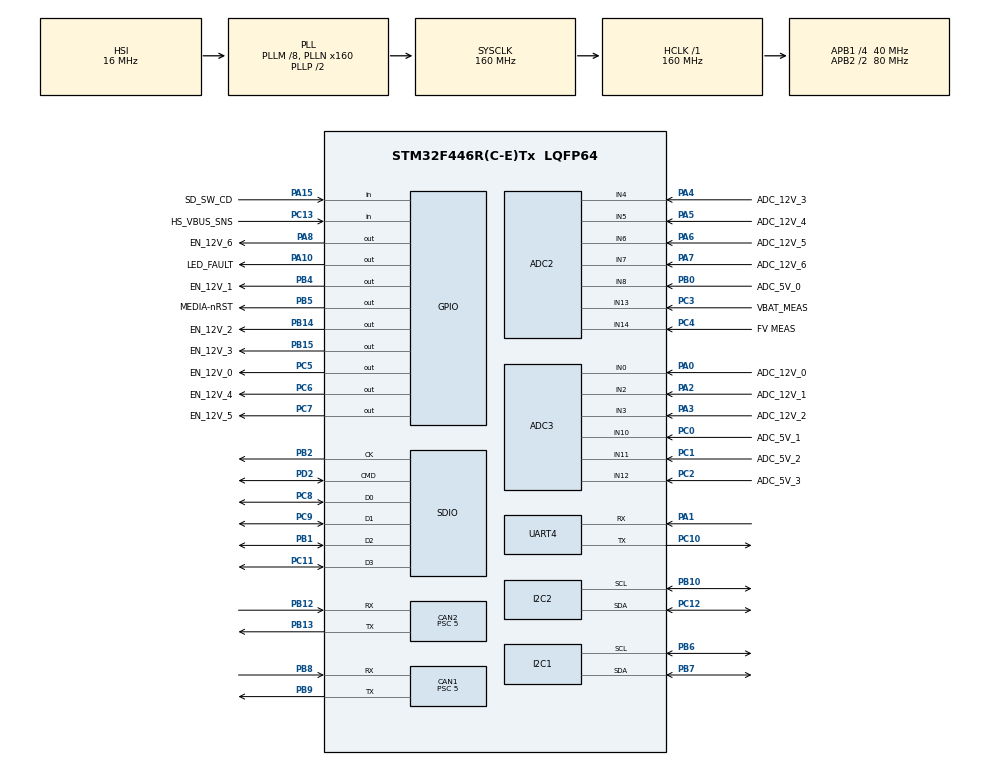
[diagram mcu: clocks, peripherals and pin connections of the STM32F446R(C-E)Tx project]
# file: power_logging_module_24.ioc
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ADC1.Channel-0\#ChannelRegularConversion=ADC_CHANNEL_TEMPSENSOR
ADC1.ClockPrescaler=ADC_CLOCK_SYNC_PCLK_DIV8
ADC1.ContinuousConvMode=ENABLE
ADC1.DMAContinuousRequests=ENABLE
ADC1.ExternalTrigConv=ADC_EXTERNALTRIGCONV_T3_TRGO
ADC1.NbrOfConversion=1
ADC1.NbrOfConversionFlag=1
ADC1.Rank-0\#ChannelRegularConversion=1
ADC1.SamplingTime-0\#ChannelRegularConversion=ADC_SAMPLETIME_480CYCLES
ADC1.ScanConvMode=ENABLE
ADC1.master=1
ADC2.Channel-0\#ChannelRegularConversion=ADC_CHANNEL_4
ADC2.Channel-1\#ChannelRegularConversion=ADC_CHANNEL_5
ADC2.Channel-2\#ChannelRegularConversion=ADC_CHANNEL_6
ADC2.Channel-3\#ChannelRegularConversion=ADC_CHANNEL_7
ADC2.Channel-7\#ChannelRegularConversion=ADC_CHANNEL_8
ADC2.Channel-8\#ChannelRegularConversion=ADC_CHANNEL_13
ADC2.Channel-9\#ChannelRegularConversion=ADC_CHANNEL_14
ADC2.ClockPrescaler=ADC_CLOCK_SYNC_PCLK_DIV8
ADC2.ContinuousConvMode=ENABLE
ADC2.DMAContinuousRequests=ENABLE
ADC2.NbrOfConversion=7
ADC2.NbrOfConversionFlag=1
ADC2.Rank-0\#ChannelRegularConversion=1
ADC2.Rank-1\#ChannelRegularConversion=2
ADC2.Rank-2\#ChannelRegularConversion=3
ADC2.Rank-3\#ChannelRegularConversion=4
ADC2.Rank-7\#ChannelRegularConversion=5
ADC2.Rank-8\#ChannelRegularConversion=6
ADC2.Rank-9\#ChannelRegularConversion=7
ADC2.SamplingTime-0\#ChannelRegularConversion=ADC_SAMPLETIME_480CYCLES
ADC2.SamplingTime-1\#ChannelRegularConversion=ADC_SAMPLETIME_480CYCLES
ADC2.SamplingTime-2\#ChannelRegularConversion=ADC_SAMPLETIME_480CYCLES
ADC2.SamplingTime-3\#ChannelRegularConversion=ADC_SAMPLETIME_480CYCLES
ADC2.SamplingTime-7\#ChannelRegularConversion=ADC_SAMPLETIME_480CYCLES
ADC2.SamplingTime-8\#ChannelRegularConversion=ADC_SAMPLETIME_480CYCLES
ADC2.SamplingTime-9\#ChannelRegularConversion=ADC_SAMPLETIME_480CYCLES
ADC2.ScanConvMode=ENABLE
ADC3.Channel-0\#ChannelRegularConversion=ADC_CHANNEL_0
ADC3.Channel-1\#ChannelRegularConversion=ADC_CHANNEL_2
ADC3.Channel-10\#ChannelRegularConversion=ADC_CHANNEL_12
ADC3.Channel-2\#ChannelRegularConversion=ADC_CHANNEL_3
ADC3.Channel-8\#ChannelRegularConversion=ADC_CHANNEL_10
ADC3.Channel-9\#ChannelRegularConversion=ADC_CHANNEL_11
ADC3.ClockPrescaler=ADC_CLOCK_SYNC_PCLK_DIV8
ADC3.ContinuousConvMode=ENABLE
ADC3.DMAContinuousRequests=ENABLE
ADC3.NbrOfConversion=6
ADC3.NbrOfConversionFlag=1
ADC3.Rank-0\#ChannelRegularConversion=1
ADC3.Rank-1\#ChannelRegularConversion=2
ADC3.Rank-10\#ChannelRegularConversion=6
ADC3.Rank-2\#ChannelRegularConversion=3
ADC3.Rank-8\#ChannelRegularConversion=4
ADC3.Rank-9\#ChannelRegularConversion=5
ADC3.SamplingTime-0\#ChannelRegularConversion=ADC_SAMPLETIME_480CYCLES
ADC3.SamplingTime-1\#ChannelRegularConversion=ADC_SAMPLETIME_480CYCLES
ADC3.SamplingTime-10\#ChannelRegularConversion=ADC_SAMPLETIME_480CYCLES
ADC3.SamplingTime-2\#ChannelRegularConversion=ADC_SAMPLETIME_480CYCLES
ADC3.SamplingTime-8\#ChannelRegularConversion=ADC_SAMPLETIME_480CYCLES
ADC3.SamplingTime-9\#ChannelRegularConversion=ADC_SAMPLETIME_480CYCLES
CAN1.ABOM=ENABLE
CAN1.AWUM=ENABLE
CAN1.BS1=CAN_BS1_6TQ
CAN1.BS2=CAN_BS2_1TQ
CAN1.CalculateBaudRate=1000000
CAN1.CalculateTimeBit=1000
CAN1.CalculateTimeQuantum=125.0
CAN1.Prescaler=5
CAN2.ABOM=ENABLE
CAN2.AWUM=ENABLE
CAN2.BS1=CAN_BS1_6TQ
CAN2.BS2=CAN_BS2_1TQ
CAN2.CalculateBaudRate=1000000
CAN2.CalculateTimeBit=1000
CAN2.CalculateTimeQuantum=125.0
CAN2.Prescaler=5
Dma.ADC1.4.Direction=DMA_PERIPH_TO_MEMORY
Dma.ADC1.4.FIFOMode=DMA_FIFOMODE_DISABLE
Dma.ADC1.4.Instance=DMA2_Stream0
Dma.ADC1.4.MemDataAlignment=DMA_MDATAALIGN_HALFWORD
Dma.ADC1.4.MemInc=DMA_MINC_ENABLE
Dma.ADC1.4.Mode=DMA_CIRCULAR
Dma.ADC1.4.PeriphDataAlignment=DMA_PDATAALIGN_HALFWORD
Dma.ADC1.4.PeriphInc=DMA_PINC_DISABLE
Dma.ADC1.4.Priority=DMA_PRIORITY_LOW
Dma.ADC2.0.Direction=DMA_PERIPH_TO_MEMORY
Dma.ADC2.0.FIFOMode=DMA_FIFOMODE_DISABLE
Dma.ADC2.0.Instance=DMA2_Stream2
Dma.ADC2.0.MemDataAlignment=DMA_MDATAALIGN_HALFWORD
Dma.ADC2.0.MemInc=DMA_MINC_ENABLE
Dma.ADC2.0.Mode=DMA_CIRCULAR
Dma.ADC2.0.PeriphDataAlignment=DMA_PDATAALIGN_HALFWORD
Dma.ADC2.0.PeriphInc=DMA_PINC_DISABLE
Dma.ADC2.0.Priority=DMA_PRIORITY_LOW
Dma.ADC3.1.Direction=DMA_PERIPH_TO_MEMORY
Dma.ADC3.1.FIFOMode=DMA_FIFOMODE_DISABLE
Dma.ADC3.1.Instance=DMA2_Stream1
Dma.ADC3.1.MemDataAlignment=DMA_MDATAALIGN_HALFWORD
Dma.ADC3.1.MemInc=DMA_MINC_ENABLE
Dma.ADC3.1.Mode=DMA_CIRCULAR
Dma.ADC3.1.PeriphDataAlignment=DMA_PDATAALIGN_HALFWORD
Dma.ADC3.1.PeriphInc=DMA_PINC_DISABLE
Dma.ADC3.1.Priority=DMA_PRIORITY_LOW
Dma.Request0=ADC2
Dma.Request1=ADC3
Dma.Request2=SDIO_RX
Dma.Request3=SDIO_TX
Dma.Request4=ADC1
Dma.SDIO_RX.2.Direction=DMA_PERIPH_TO_MEMORY
Dma.SDIO_RX.2.FIFOMode=DMA_FIFOMODE_ENABLE
Dma.SDIO_RX.2.FIFOThreshold=DMA_FIFO_THRESHOLD_FULL
Dma.SDIO_RX.2.Instance=DMA2_Stream3
Dma.SDIO_RX.2.MemBurst=DMA_MBURST_INC4
Dma.SDIO_RX.2.MemDataAlignment=DMA_MDATAALIGN_WORD
Dma.SDIO_RX.2.MemInc=DMA_MINC_ENABLE
Dma.SDIO_RX.2.Mode=DMA_PFCTRL
Dma.SDIO_RX.2.PeriphBurst=DMA_PBURST_INC4
Dma.SDIO_RX.2.PeriphDataAlignment=DMA_PDATAALIGN_WORD
Dma.SDIO_RX.2.PeriphInc=DMA_PINC_DISABLE
Dma.SDIO_RX.2.Priority=DMA_PRIORITY_LOW
Dma.SDIO_TX.3.Direction=DMA_MEMORY_TO_PERIPH
Dma.SDIO_TX.3.FIFOMode=DMA_FIFOMODE_ENABLE
Dma.SDIO_TX.3.FIFOThreshold=DMA_FIFO_THRESHOLD_FULL
Dma.SDIO_TX.3.Instance=DMA2_Stream6
Dma.SDIO_TX.3.MemBurst=DMA_MBURST_INC4
Dma.SDIO_TX.3.MemDataAlignment=DMA_MDATAALIGN_WORD
Dma.SDIO_TX.3.MemInc=DMA_MINC_ENABLE
Dma.SDIO_TX.3.Mode=DMA_PFCTRL
Dma.SDIO_TX.3.PeriphBurst=DMA_PBURST_INC4
Dma.SDIO_TX.3.PeriphDataAlignment=DMA_PDATAALIGN_WORD
Dma.SDIO_TX.3.PeriphInc=DMA_PINC_DISABLE
Dma.SDIO_TX.3.Priority=DMA_PRIORITY_LOW
FATFS.BSP.number=1
FATFS._MAX_SS=4096
FATFS._USE_LFN=2
FATFS0.BSP.STBoard=false
FATFS0.BSP.api=Unknown
FATFS0.BSP.instance=PA15
FATFS0.BSP.ip=GPIO
FATFS0.BSP.mode=Input
FATFS0.BSP.name=Detect_SDIO
FATFS0.BSP.solution=PA15
FREERTOS.Tasks01=heartbeat,-2,512,plm_task_heartbeat,Default,NULL,Dynamic,NULL,NULL;store_data,0,1024,plm_task_store_data,Default,NULL,Dynamic,NULL,NULL;service_can,0,1024,plm_task_service_can,Default,NULL,Dynamic,NULL,NULL;simulate_data,-2,1024,plm_task_simulate_data,Default,NULL,Dynamic,NULL,NULL;collect_data,0,1024,plm_task_collect_data,Default,NULL,Dynamic,NULL,NULL;monitor_current,0,1024,plm_task_monitor_current,Default,NULL,Dynamic,NULL,NULL
FREERTOS.configENABLE_FPU=1
FREERTOS.configTOTAL_HEAP_SIZE=64000
FREERTOS.configUSE_NEWLIB_REENTRANT=0
Mcu.Family=STM32F4
Mcu.Name=STM32F446R(C-E)Tx
Mcu.Package=LQFP64
NVIC.ADC_IRQn=true\:5\:0\:false\:false\:true\:true\:true\:true\:true
NVIC.CAN1_RX0_IRQn=true\:5\:0\:false\:false\:true\:true\:true\:true\:true
NVIC.CAN1_RX1_IRQn=true\:5\:0\:false\:false\:true\:true\:true\:true\:true
NVIC.CAN1_TX_IRQn=true\:5\:0\:false\:false\:true\:true\:true\:true\:true
NVIC.CAN2_RX0_IRQn=true\:5\:0\:false\:false\:true\:true\:true\:true\:true
NVIC.CAN2_RX1_IRQn=true\:5\:0\:false\:false\:true\:true\:true\:true\:true
NVIC.CAN2_TX_IRQn=true\:5\:0\:false\:false\:true\:true\:true\:true\:true
NVIC.DMA2_Stream0_IRQn=true\:5\:0\:false\:false\:true\:true\:false\:true\:true
NVIC.DMA2_Stream1_IRQn=true\:5\:0\:false\:false\:true\:true\:false\:true\:true
NVIC.DMA2_Stream2_IRQn=true\:5\:0\:false\:false\:true\:true\:false\:true\:true
NVIC.DMA2_Stream3_IRQn=true\:5\:0\:false\:false\:true\:true\:false\:true\:true
NVIC.DMA2_Stream6_IRQn=true\:5\:0\:false\:false\:true\:true\:false\:true\:true
NVIC.PriorityGroup=NVIC_PRIORITYGROUP_4
NVIC.SDIO_IRQn=true\:5\:0\:false\:false\:true\:true\:true\:true\:true
NVIC.TIM1_UP_TIM10_IRQn=true\:15\:0\:false\:false\:true\:false\:false\:true\:true
NVIC.TimeBase=TIM1_UP_TIM10_IRQn
NVIC.TimeBaseIP=TIM1
PA0-WKUP.GPIO_Label=ADC_12V_0
PA0-WKUP.Signal=ADCx_IN0
PA1.Mode=Asynchronous
PA1.Signal=UART4_RX
PA10.GPIO_Label=LED_FAULT
PA10.Signal=GPIO_Output
PA11.Signal=USB_OTG_FS_DM
PA12.Signal=USB_OTG_FS_DP
PA13.Mode=Trace_Asynchronous_SW
PA13.Signal=SYS_JTMS-SWDIO
PA14.Mode=Trace_Asynchronous_SW
PA14.Signal=SYS_JTCK-SWCLK
PA15.GPIO_Label=SD_SW_CD
PA15.GPIO_PuPd=GPIO_PULLUP
PA15.Signal=GPIO_Input
PA2.GPIO_Label=ADC_12V_1
PA2.Signal=ADCx_IN2
PA3.GPIO_Label=ADC_12V_2
PA3.Signal=ADCx_IN3
PA4.GPIO_Label=ADC_12V_3
PA4.Signal=ADCx_IN4
PA5.GPIO_Label=ADC_12V_4
PA5.Signal=ADCx_IN5
PA6.GPIO_Label=ADC_12V_5
PA6.Signal=ADCx_IN6
PA7.GPIO_Label=ADC_12V_6
PA7.Signal=ADCx_IN7
PA8.GPIO_Label=EN_12V_6
PA8.Signal=GPIO_Output
PA9.Signal=USB_OTG_FS_VBUS
PB0.GPIO_Label=ADC_5V_0
PB0.Signal=ADCx_IN8
PB1.Mode=SD_4_bits_Wide_bus
PB1.Signal=SDIO_D2
PB10.Mode=I2C
PB10.Signal=I2C2_SCL
PB12.Mode=CAN_Activate
PB12.Signal=CAN2_RX
PB13.Mode=CAN_Activate
PB13.Signal=CAN2_TX
PB14.GPIO_Label=EN_12V_2
PB14.Signal=GPIO_Output
PB15.GPIO_Label=EN_12V_3
PB15.Signal=GPIO_Output
PB2.Mode=SD_4_bits_Wide_bus
PB2.Signal=SDIO_CK
PB3.Mode=Trace_Asynchronous_SW
PB3.Signal=SYS_JTDO-SWO
PB4.GPIO_Label=EN_12V_1
PB4.Signal=GPIO_Output
PB5.GPIO_Label=MEDIA-nRST
PB5.Signal=GPIO_Output
PB6.Mode=I2C
PB6.Signal=I2C1_SCL
PB7.Mode=I2C
PB7.Signal=I2C1_SDA
PB8.Mode=CAN_Activate
PB8.Signal=CAN1_RX
PB9.Mode=CAN_Activate
PB9.Signal=CAN1_TX
PC0.GPIO_Label=ADC_5V_1
PC0.Signal=ADCx_IN10
PC1.GPIO_Label=ADC_5V_2
PC1.Signal=ADCx_IN11
PC10.Mode=Asynchronous
PC10.Signal=UART4_TX
PC11.Mode=SD_4_bits_Wide_bus
PC11.Signal=SDIO_D3
PC12.Mode=I2C
PC12.Signal=I2C2_SDA
PC13.GPIO_Label=HS_VBUS_SNS
PC13.Signal=GPIO_Input
PC14-OSC32_IN.Mode=LSE-External-Clock-Source
PC14-OSC32_IN.Signal=RCC_OSC32_IN
PC15-OSC32_OUT.Mode=LSE-External-Clock-Source
PC15-OSC32_OUT.Signal=RCC_OSC32_OUT
PC2.GPIO_Label=ADC_5V_3
PC2.Signal=ADCx_IN12
PC3.GPIO_Label=VBAT_MEAS
PC3.Signal=ADCx_IN13
PC4.GPIO_Label=FV MEAS
PC4.Signal=ADCx_IN14
PC5.GPIO_Label=EN_12V_0
PC5.Signal=GPIO_Output
PC6.GPIO_Label=EN_12V_4
PC6.Signal=GPIO_Output
PC7.GPIO_Label=EN_12V_5
PC7.Signal=GPIO_Output
PC8.GPIO_PuPd=GPIO_PULLUP
PC8.Mode=SD_4_bits_Wide_bus
PC8.Signal=SDIO_D0
PC9.Mode=SD_4_bits_Wide_bus
PC9.Signal=SDIO_D1
PD2.GPIO_PuPd=GPIO_PULLUP
PD2.Mode=SD_4_bits_Wide_bus
PD2.Signal=SDIO_CMD
PH0-OSC_IN.Mode=HSE-External-Clock-Source
PH0-OSC_IN.Signal=RCC_OSC_IN
PH1-OSC_OUT.Mode=HSE-External-Clock-Source
PH1-OSC_OUT.Signal=RCC_OSC_OUT
ProjectManager.HeapSize=0x200
ProjectManager.StackSize=0x400
ProjectManager.TargetToolchain=STM32CubeIDE
RCC.AHBFreq_Value=160000000
RCC.APB1CLKDivider=RCC_HCLK_DIV4
RCC.APB1Freq_Value=40000000
RCC.APB1TimFreq_Value=80000000
RCC.APB2CLKDivider=RCC_HCLK_DIV2
RCC.APB2Freq_Value=80000000
RCC.APB2TimFreq_Value=160000000
RCC.CortexFreq_Value=160000000
RCC.HCLKFreq_Value=160000000
RCC.HSE_VALUE=24000000
RCC.PLLM=8
RCC.PLLN=160
RCC.PLLQ=7
RCC.RCC_RTC_Clock_SourceVirtual=RCC_RTCCLKSOURCE_LSE
RCC.SYSCLKFreq_VALUE=160000000
RCC.SYSCLKSource=RCC_SYSCLKSOURCE_PLLCLK
RCC.USBFreq_Value=45714285.71428572
RCC.VCOOutputFreq_Value=320000000
SH.ADCx_IN0.0=ADC3_IN0,IN0
SH.ADCx_IN10.0=ADC3_IN10,IN10
SH.ADCx_IN11.0=ADC3_IN11,IN11
SH.ADCx_IN12.0=ADC3_IN12,IN12
SH.ADCx_IN13.0=ADC2_IN13,IN13
SH.ADCx_IN14.0=ADC2_IN14,IN14
SH.ADCx_IN2.0=ADC3_IN2,IN2
SH.ADCx_IN3.0=ADC3_IN3,IN3
SH.ADCx_IN4.0=ADC2_IN4,IN4
SH.ADCx_IN5.0=ADC2_IN5,IN5
SH.ADCx_IN6.0=ADC2_IN6,IN6
SH.ADCx_IN7.0=ADC2_IN7,IN7
SH.ADCx_IN8.0=ADC2_IN8,IN8
TIM3.Period=10000-1
TIM3.Prescaler=840-1
TIM3.TIM_MasterOutputTrigger=TIM_TRGO_UPDATE
UART4.VirtualMode=Asynchronous
VP_ADC1_TempSens_Input.Mode=IN-TempSens
VP_FATFS_VS_SDIO.Mode=SDIO
VP_FREERTOS_VS_CMSIS_V1.Mode=CMSIS_V1
VP_RTC_VS_RTC_Activate.Mode=RTC_Enabled
VP_SYS_VS_tim1.Mode=TIM1
VP_TIM10_VS_ClockSourceINT.Mode=Enable_Timer
VP_TIM3_VS_ClockSourceINT.Mode=Internal
board=custom

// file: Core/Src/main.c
/* USER CODE BEGIN Header */
/**
  ******************************************************************************
  * @file           : main.c
  * @brief          : Main program body
  ******************************************************************************
  * @attention
  *
  * Copyright (c) 2024 STMicroelectronics.
  * All rights reserved.
  *
  * This software is licensed under terms that can be found in the LICENSE file
  * in the root directory of this software component.
  * If no LICENSE file comes with this software, it is provided AS-IS.
  *
  ******************************************************************************
  */
/* USER CODE END Header */
#include "main.h"
#include "cmsis_os.h"
#include "fatfs.h"

/* USER CODE BEGIN Includes */
#include <stdio.h>
#include "plm.h"
#include "adc_lib.h"
#include "plm_error.h"
/* USER CODE END Includes */

ADC_HandleTypeDef hadc1;
ADC_HandleTypeDef hadc2;
ADC_HandleTypeDef hadc3;
DMA_HandleTypeDef hdma_adc1;
DMA_HandleTypeDef hdma_adc2;
DMA_HandleTypeDef hdma_adc3;

CAN_HandleTypeDef hcan1;
CAN_HandleTypeDef hcan2;

I2C_HandleTypeDef hi2c1;
I2C_HandleTypeDef hi2c2;

RTC_HandleTypeDef hrtc;

SD_HandleTypeDef hsd;
DMA_HandleTypeDef hdma_sdio_rx;
DMA_HandleTypeDef hdma_sdio_tx;

TIM_HandleTypeDef htim3;
TIM_HandleTypeDef htim10;

UART_HandleTypeDef huart4;

osThreadId heartbeatHandle;
osThreadId store_dataHandle;
osThreadId service_canHandle;
osThreadId simulate_dataHandle;
osThreadId collect_dataHandle;
osThreadId monitor_currentHandle;
/* USER CODE BEGIN PV */
ADC_HandleTypeDef hadc1;
/* USER CODE END PV */

void SystemClock_Config(void);
static void MX_GPIO_Init(void);
static void MX_DMA_Init(void);
static void MX_ADC2_Init(void);
static void MX_ADC3_Init(void);
static void MX_CAN1_Init(void);
static void MX_CAN2_Init(void);
static void MX_I2C1_Init(void);
static void MX_SDIO_SD_Init(void);
static void MX_UART4_Init(void);
static void MX_I2C2_Init(void);
static void MX_RTC_Init(void);
static void MX_TIM10_Init(void);
static void MX_ADC1_Init(void);
static void MX_TIM3_Init(void);
void plm_task_heartbeat(void const * argument);
void plm_task_store_data(void const * argument);
void plm_task_service_can(void const * argument);
void plm_task_simulate_data(void const * argument);
void plm_task_collect_data(void const * argument);
void plm_task_monitor_current(void const * argument);

/* USER CODE BEGIN PFP */
// redirect printf to USART (STLink Virtual COM)
// NOTE: output gets flushed at newline \n
#ifdef __GNUC__
#define PUTCHAR_PROTOTYPE int __io_putchar(int ch)
#else
#define PUTCHAR_PROTOTYPE int fputc(int ch, FILE *f)
#endif

PUTCHAR_PROTOTYPE
{
  HAL_UART_Transmit(&huart4, (uint8_t*)&ch, 1, HAL_MAX_DELAY);
  HAL_UART_Transmit(&huart4, (uint8_t*)&ch, 1, HAL_MAX_DELAY);
  return ch;
}
/* USER CODE END PFP */

int main(void)
{

  /* MCU Configuration--------------------------------------------------------*/

  /* Reset of all peripherals, Initializes the Flash interface and the Systick. */
  HAL_Init();

  /* Configure the system clock */
  SystemClock_Config();

  /* USER CODE BEGIN SysInit */
  MX_DMA_Init();
  /* USER CODE END SysInit */

  /* Initialize all configured peripherals */
  MX_GPIO_Init();
  MX_DMA_Init();
  MX_ADC2_Init();
  MX_ADC3_Init();
  MX_CAN1_Init();
  MX_CAN2_Init();
  MX_I2C1_Init();
  MX_SDIO_SD_Init();
  MX_UART4_Init();
  MX_FATFS_Init();
  MX_I2C2_Init();
  MX_RTC_Init();
  MX_TIM10_Init();
  MX_ADC1_Init();
  MX_TIM3_Init();
  /* USER CODE BEGIN 2 */
  plm_init();
  /* USER CODE END 2 */

  /* Create the thread(s) */
  /* definition and creation of heartbeat */
  osThreadDef(heartbeat, plm_task_heartbeat, osPriorityLow, 0, 512);
  heartbeatHandle = osThreadCreate(osThread(heartbeat), NULL);

  /* definition and creation of store_data */
  osThreadDef(store_data, plm_task_store_data, osPriorityNormal, 0, 1024);
  store_dataHandle = osThreadCreate(osThread(store_data), NULL);

  /* definition and creation of service_can */
  osThreadDef(service_can, plm_task_service_can, osPriorityNormal, 0, 1024);
  service_canHandle = osThreadCreate(osThread(service_can), NULL);

  /* definition and creation of simulate_data */
  osThreadDef(simulate_data, plm_task_simulate_data, osPriorityLow, 0, 1024);
  simulate_dataHandle = osThreadCreate(osThread(simulate_data), NULL);

  /* definition and creation of collect_data */
  osThreadDef(collect_data, plm_task_collect_data, osPriorityNormal, 0, 1024);
  collect_dataHandle = osThreadCreate(osThread(collect_data), NULL);

  /* definition and creation of monitor_current */
  osThreadDef(monitor_current, plm_task_monitor_current, osPriorityNormal, 0, 1024);
  monitor_currentHandle = osThreadCreate(osThread(monitor_current), NULL);

  /* Start scheduler */
  osKernelStart();

  /* We should never get here as control is now taken by the scheduler */

  /* Infinite loop */
  while (1)
  {

  }
}

void SystemClock_Config(void)
{
  RCC_OscInitTypeDef RCC_OscInitStruct = {0};
  RCC_ClkInitTypeDef RCC_ClkInitStruct = {0};

  /** Configure the main internal regulator output voltage
  */
  __HAL_RCC_PWR_CLK_ENABLE();
  __HAL_PWR_VOLTAGESCALING_CONFIG(PWR_REGULATOR_VOLTAGE_SCALE1);

  /** Initializes the RCC Oscillators according to the specified parameters
  * in the RCC_OscInitTypeDef structure.
  */
  RCC_OscInitStruct.OscillatorType = RCC_OSCILLATORTYPE_HSI|RCC_OSCILLATORTYPE_LSE;
  RCC_OscInitStruct.LSEState = RCC_LSE_BYPASS;
  RCC_OscInitStruct.HSIState = RCC_HSI_ON;
  RCC_OscInitStruct.HSICalibrationValue = RCC_HSICALIBRATION_DEFAULT;
  RCC_OscInitStruct.PLL.PLLState = RCC_PLL_ON;
  RCC_OscInitStruct.PLL.PLLSource = RCC_PLLSOURCE_HSI;
  RCC_OscInitStruct.PLL.PLLM = 8;
  RCC_OscInitStruct.PLL.PLLN = 160;
  RCC_OscInitStruct.PLL.PLLP = RCC_PLLP_DIV2;
  RCC_OscInitStruct.PLL.PLLQ = 7;
  RCC_OscInitStruct.PLL.PLLR = 2;
  if (HAL_RCC_OscConfig(&RCC_OscInitStruct) != HAL_OK)
  {
    Error_Handler();
  }

  /** Initializes the CPU, AHB and APB buses clocks
  */
  RCC_ClkInitStruct.ClockType = RCC_CLOCKTYPE_HCLK|RCC_CLOCKTYPE_SYSCLK
                              |RCC_CLOCKTYPE_PCLK1|RCC_CLOCKTYPE_PCLK2;
  RCC_ClkInitStruct.SYSCLKSource = RCC_SYSCLKSOURCE_PLLCLK;
  RCC_ClkInitStruct.AHBCLKDivider = RCC_SYSCLK_DIV1;
  RCC_ClkInitStruct.APB1CLKDivider = RCC_HCLK_DIV4;
  RCC_ClkInitStruct.APB2CLKDivider = RCC_HCLK_DIV2;

  if (HAL_RCC_ClockConfig(&RCC_ClkInitStruct, FLASH_LATENCY_5) != HAL_OK)
  {
    Error_Handler();
  }
}

static void MX_ADC1_Init(void)
{

  ADC_ChannelConfTypeDef sConfig = {0};

  /** Configure the global features of the ADC (Clock, Resolution, Data Alignment and number of conversion)
  */
  hadc1.Instance = ADC1;
  hadc1.Init.ClockPrescaler = ADC_CLOCK_SYNC_PCLK_DIV8;
  hadc1.Init.Resolution = ADC_RESOLUTION_12B;
  hadc1.Init.ScanConvMode = ENABLE;
  hadc1.Init.ContinuousConvMode = ENABLE;
  hadc1.Init.DiscontinuousConvMode = DISABLE;
  hadc1.Init.ExternalTrigConvEdge = ADC_EXTERNALTRIGCONVEDGE_RISING;
  hadc1.Init.ExternalTrigConv = ADC_EXTERNALTRIGCONV_T3_TRGO;
  hadc1.Init.DataAlign = ADC_DATAALIGN_RIGHT;
  hadc1.Init.NbrOfConversion = 1;
  hadc1.Init.DMAContinuousRequests = ENABLE;
  hadc1.Init.EOCSelection = ADC_EOC_SINGLE_CONV;
  if (HAL_ADC_Init(&hadc1) != HAL_OK)
  {
    Error_Handler();
  }

  /** Configure for the selected ADC regular channel its corresponding rank in the sequencer and its sample time.
  */
  sConfig.Channel = ADC_CHANNEL_TEMPSENSOR;
  sConfig.Rank = 1;
  sConfig.SamplingTime = ADC_SAMPLETIME_480CYCLES;
  if (HAL_ADC_ConfigChannel(&hadc1, &sConfig) != HAL_OK)
  {
    Error_Handler();
  }

}

static void MX_ADC2_Init(void)
{

  ADC_ChannelConfTypeDef sConfig = {0};

  /** Configure the global features of the ADC (Clock, Resolution, Data Alignment and number of conversion)
  */
  hadc2.Instance = ADC2;
  hadc2.Init.ClockPrescaler = ADC_CLOCK_SYNC_PCLK_DIV8;
  hadc2.Init.Resolution = ADC_RESOLUTION_12B;
  hadc2.Init.ScanConvMode = ENABLE;
  hadc2.Init.ContinuousConvMode = ENABLE;
  hadc2.Init.DiscontinuousConvMode = DISABLE;
  hadc2.Init.ExternalTrigConvEdge = ADC_EXTERNALTRIGCONVEDGE_NONE;
  hadc2.Init.ExternalTrigConv = ADC_SOFTWARE_START;
  hadc2.Init.DataAlign = ADC_DATAALIGN_RIGHT;
  hadc2.Init.NbrOfConversion = 7;
  hadc2.Init.DMAContinuousRequests = ENABLE;
  hadc2.Init.EOCSelection = ADC_EOC_SINGLE_CONV;
  if (HAL_ADC_Init(&hadc2) != HAL_OK)
  {
    Error_Handler();
  }

  /** Configure for the selected ADC regular channel its corresponding rank in the sequencer and its sample time.
  */
  sConfig.Channel = ADC_CHANNEL_4;
  sConfig.Rank = 1;
  sConfig.SamplingTime = ADC_SAMPLETIME_480CYCLES;
  if (HAL_ADC_ConfigChannel(&hadc2, &sConfig) != HAL_OK)
  {
    Error_Handler();
  }

  /** Configure for the selected ADC regular channel its corresponding rank in the sequencer and its sample time.
  */
  sConfig.Channel = ADC_CHANNEL_5;
  sConfig.Rank = 2;
  if (HAL_ADC_ConfigChannel(&hadc2, &sConfig) != HAL_OK)
  {
    Error_Handler();
  }

  /** Configure for the selected ADC regular channel its corresponding rank in the sequencer and its sample time.
  */
  sConfig.Channel = ADC_CHANNEL_6;
  sConfig.Rank = 3;
  if (HAL_ADC_ConfigChannel(&hadc2, &sConfig) != HAL_OK)
  {
    Error_Handler();
  }

  /** Configure for the selected ADC regular channel its corresponding rank in the sequencer and its sample time.
  */
  sConfig.Channel = ADC_CHANNEL_7;
  sConfig.Rank = 4;
  if (HAL_ADC_ConfigChannel(&hadc2, &sConfig) != HAL_OK)
  {
    Error_Handler();
  }

  /** Configure for the selected ADC regular channel its corresponding rank in the sequencer and its sample time.
  */
  sConfig.Channel = ADC_CHANNEL_8;
  sConfig.Rank = 5;
  if (HAL_ADC_ConfigChannel(&hadc2, &sConfig) != HAL_OK)
  {
    Error_Handler();
  }

  /** Configure for the selected ADC regular channel its corresponding rank in the sequencer and its sample time.
  */
  sConfig.Channel = ADC_CHANNEL_13;
  sConfig.Rank = 6;
  if (HAL_ADC_ConfigChannel(&hadc2, &sConfig) != HAL_OK)
  {
    Error_Handler();
  }

  /** Configure for the selected ADC regular channel its corresponding rank in the sequencer and its sample time.
  */
  sConfig.Channel = ADC_CHANNEL_14;
  sConfig.Rank = 7;
  if (HAL_ADC_ConfigChannel(&hadc2, &sConfig) != HAL_OK)
  {
    Error_Handler();
  }

}

static void MX_ADC3_Init(void)
{

  ADC_ChannelConfTypeDef sConfig = {0};

  /** Configure the global features of the ADC (Clock, Resolution, Data Alignment and number of conversion)
  */
  hadc3.Instance = ADC3;
  hadc3.Init.ClockPrescaler = ADC_CLOCK_SYNC_PCLK_DIV8;
  hadc3.Init.Resolution = ADC_RESOLUTION_12B;
  hadc3.Init.ScanConvMode = ENABLE;
  hadc3.Init.ContinuousConvMode = ENABLE;
  hadc3.Init.DiscontinuousConvMode = DISABLE;
  hadc3.Init.ExternalTrigConvEdge = ADC_EXTERNALTRIGCONVEDGE_NONE;
  hadc3.Init.ExternalTrigConv = ADC_SOFTWARE_START;
  hadc3.Init.DataAlign = ADC_DATAALIGN_RIGHT;
  hadc3.Init.NbrOfConversion = 6;
  hadc3.Init.DMAContinuousRequests = ENABLE;
  hadc3.Init.EOCSelection = ADC_EOC_SINGLE_CONV;
  if (HAL_ADC_Init(&hadc3) != HAL_OK)
  {
    Error_Handler();
  }

  /** Configure for the selected ADC regular channel its corresponding rank in the sequencer and its sample time.
  */
  sConfig.Channel = ADC_CHANNEL_0;
  sConfig.Rank = 1;
  sConfig.SamplingTime = ADC_SAMPLETIME_480CYCLES;
  if (HAL_ADC_ConfigChannel(&hadc3, &sConfig) != HAL_OK)
  {
    Error_Handler();
  }

  /** Configure for the selected ADC regular channel its corresponding rank in the sequencer and its sample time.
  */
  sConfig.Channel = ADC_CHANNEL_2;
  sConfig.Rank = 2;
  if (HAL_ADC_ConfigChannel(&hadc3, &sConfig) != HAL_OK)
  {
    Error_Handler();
  }

  /** Configure for the selected ADC regular channel its corresponding rank in the sequencer and its sample time.
  */
  sConfig.Channel = ADC_CHANNEL_3;
  sConfig.Rank = 3;
  if (HAL_ADC_ConfigChannel(&hadc3, &sConfig) != HAL_OK)
  {
    Error_Handler();
  }

  /** Configure for the selected ADC regular channel its corresponding rank in the sequencer and its sample time.
  */
  sConfig.Channel = ADC_CHANNEL_10;
  sConfig.Rank = 4;
  if (HAL_ADC_ConfigChannel(&hadc3, &sConfig) != HAL_OK)
  {
    Error_Handler();
  }

  /** Configure for the selected ADC regular channel its corresponding rank in the sequencer and its sample time.
  */
  sConfig.Channel = ADC_CHANNEL_11;
  sConfig.Rank = 5;
  if (HAL_ADC_ConfigChannel(&hadc3, &sConfig) != HAL_OK)
  {
    Error_Handler();
  }

  /** Configure for the selected ADC regular channel its corresponding rank in the sequencer and its sample time.
  */
  sConfig.Channel = ADC_CHANNEL_12;
  sConfig.Rank = 6;
  if (HAL_ADC_ConfigChannel(&hadc3, &sConfig) != HAL_OK)
  {
    Error_Handler();
  }

}

static void MX_CAN1_Init(void)
{

  hcan1.Instance = CAN1;
  hcan1.Init.Prescaler = 5;
  hcan1.Init.Mode = CAN_MODE_NORMAL;
  hcan1.Init.SyncJumpWidth = CAN_SJW_1TQ;
  hcan1.Init.TimeSeg1 = CAN_BS1_6TQ;
  hcan1.Init.TimeSeg2 = CAN_BS2_1TQ;
  hcan1.Init.TimeTriggeredMode = DISABLE;
  hcan1.Init.AutoBusOff = ENABLE;
  hcan1.Init.AutoWakeUp = ENABLE;
  hcan1.Init.AutoRetransmission = DISABLE;
  hcan1.Init.ReceiveFifoLocked = DISABLE;
  hcan1.Init.TransmitFifoPriority = DISABLE;
  if (HAL_CAN_Init(&hcan1) != HAL_OK)
  {
    Error_Handler();
  }

}

static void MX_CAN2_Init(void)
{

  hcan2.Instance = CAN2;
  hcan2.Init.Prescaler = 5;
  hcan2.Init.Mode = CAN_MODE_NORMAL;
  hcan2.Init.SyncJumpWidth = CAN_SJW_1TQ;
  hcan2.Init.TimeSeg1 = CAN_BS1_6TQ;
  hcan2.Init.TimeSeg2 = CAN_BS2_1TQ;
  hcan2.Init.TimeTriggeredMode = DISABLE;
  hcan2.Init.AutoBusOff = ENABLE;
  hcan2.Init.AutoWakeUp = ENABLE;
  hcan2.Init.AutoRetransmission = DISABLE;
  hcan2.Init.ReceiveFifoLocked = DISABLE;
  hcan2.Init.TransmitFifoPriority = DISABLE;
  if (HAL_CAN_Init(&hcan2) != HAL_OK)
  {
    Error_Handler();
  }

}

static void MX_I2C1_Init(void)
{

  hi2c1.Instance = I2C1;
  hi2c1.Init.ClockSpeed = 100000;
  hi2c1.Init.DutyCycle = I2C_DUTYCYCLE_2;
  hi2c1.Init.OwnAddress1 = 0;
  hi2c1.Init.AddressingMode = I2C_ADDRESSINGMODE_7BIT;
  hi2c1.Init.DualAddressMode = I2C_DUALADDRESS_DISABLE;
  hi2c1.Init.OwnAddress2 = 0;
  hi2c1.Init.GeneralCallMode = I2C_GENERALCALL_DISABLE;
  hi2c1.Init.NoStretchMode = I2C_NOSTRETCH_DISABLE;
  if (HAL_I2C_Init(&hi2c1) != HAL_OK)
  {
    Error_Handler();
  }

}

static void MX_I2C2_Init(void)
{

  hi2c2.Instance = I2C2;
  hi2c2.Init.ClockSpeed = 100000;
  hi2c2.Init.DutyCycle = I2C_DUTYCYCLE_2;
  hi2c2.Init.OwnAddress1 = 0;
  hi2c2.Init.AddressingMode = I2C_ADDRESSINGMODE_7BIT;
  hi2c2.Init.DualAddressMode = I2C_DUALADDRESS_DISABLE;
  hi2c2.Init.OwnAddress2 = 0;
  hi2c2.Init.GeneralCallMode = I2C_GENERALCALL_DISABLE;
  hi2c2.Init.NoStretchMode = I2C_NOSTRETCH_DISABLE;
  if (HAL_I2C_Init(&hi2c2) != HAL_OK)
  {
    Error_Handler();
  }

}

static void MX_RTC_Init(void)
{

  /* USER CODE BEGIN RTC_Init 0 */
	// part of the bad solution
	RTC_TimeTypeDef old_time = {0};
	RTC_DateTypeDef old_date = {0};

	// this is a dumb solution to the problem of the auto-gen code resetting the time and
	// date on every MCU reset

	// get the time and date stored before reseting
	HAL_RTC_GetTime(&hrtc, &old_time, RTC_FORMAT_BIN);
	HAL_RTC_GetDate(&hrtc, &old_date, RTC_FORMAT_BIN);
  /* USER CODE END RTC_Init 0 */

  /** Initialize RTC Only
  */
  hrtc.Instance = RTC;
  hrtc.Init.HourFormat = RTC_HOURFORMAT_24;
  hrtc.Init.AsynchPrediv = 127;
  hrtc.Init.SynchPrediv = 255;
  hrtc.Init.OutPut = RTC_OUTPUT_DISABLE;
  hrtc.Init.OutPutPolarity = RTC_OUTPUT_POLARITY_HIGH;
  hrtc.Init.OutPutType = RTC_OUTPUT_TYPE_OPENDRAIN;
  if (HAL_RTC_Init(&hrtc) != HAL_OK)
  {
    Error_Handler();
  }
  /* USER CODE BEGIN RTC_Init 2 */

  // part of the bad solution

  // put the old time and date back to what it used to be
  if (HAL_RTC_SetTime(&hrtc, &old_time, RTC_FORMAT_BIN) != HAL_OK)
  {
	Error_Handler();
  }
  if (HAL_RTC_SetDate(&hrtc, &old_date, RTC_FORMAT_BIN) != HAL_OK)
  {
    Error_Handler();
  }

  /* USER CODE END RTC_Init 2 */

}

static void MX_SDIO_SD_Init(void)
{

  hsd.Instance = SDIO;
  hsd.Init.ClockEdge = SDIO_CLOCK_EDGE_RISING;
  hsd.Init.ClockBypass = SDIO_CLOCK_BYPASS_DISABLE;
  hsd.Init.ClockPowerSave = SDIO_CLOCK_POWER_SAVE_DISABLE;
  hsd.Init.BusWide = SDIO_BUS_WIDE_4B;
  hsd.Init.HardwareFlowControl = SDIO_HARDWARE_FLOW_CONTROL_DISABLE;
  hsd.Init.ClockDiv = 0;
  /* USER CODE BEGIN SDIO_Init 2 */
  // CUBEMX BUG: INIT MUST BE IN 1 BIT MODE
  hsd.Init.BusWide = SDIO_BUS_WIDE_1B;
  /* USER CODE END SDIO_Init 2 */

}

static void MX_TIM3_Init(void)
{

  TIM_ClockConfigTypeDef sClockSourceConfig = {0};
  TIM_MasterConfigTypeDef sMasterConfig = {0};

  htim3.Instance = TIM3;
  htim3.Init.Prescaler = 840-1;
  htim3.Init.CounterMode = TIM_COUNTERMODE_UP;
  htim3.Init.Period = 10000-1;
  htim3.Init.ClockDivision = TIM_CLOCKDIVISION_DIV1;
  htim3.Init.AutoReloadPreload = TIM_AUTORELOAD_PRELOAD_DISABLE;
  if (HAL_TIM_Base_Init(&htim3) != HAL_OK)
  {
    Error_Handler();
  }
  sClockSourceConfig.ClockSource = TIM_CLOCKSOURCE_INTERNAL;
  if (HAL_TIM_ConfigClockSource(&htim3, &sClockSourceConfig) != HAL_OK)
  {
    Error_Handler();
  }
  sMasterConfig.MasterOutputTrigger = TIM_TRGO_UPDATE;
  sMasterConfig.MasterSlaveMode = TIM_MASTERSLAVEMODE_DISABLE;
  if (HAL_TIMEx_MasterConfigSynchronization(&htim3, &sMasterConfig) != HAL_OK)
  {
    Error_Handler();
  }

}

static void MX_TIM10_Init(void)
{

  htim10.Instance = TIM10;
  htim10.Init.Prescaler = 0;
  htim10.Init.CounterMode = TIM_COUNTERMODE_UP;
  htim10.Init.Period = 65535;
  htim10.Init.ClockDivision = TIM_CLOCKDIVISION_DIV1;
  htim10.Init.AutoReloadPreload = TIM_AUTORELOAD_PRELOAD_DISABLE;
  if (HAL_TIM_Base_Init(&htim10) != HAL_OK)
  {
    Error_Handler();
  }

}

static void MX_UART4_Init(void)
{

  huart4.Instance = UART4;
  huart4.Init.BaudRate = 115200;
  huart4.Init.WordLength = UART_WORDLENGTH_8B;
  huart4.Init.StopBits = UART_STOPBITS_1;
  huart4.Init.Parity = UART_PARITY_NONE;
  huart4.Init.Mode = UART_MODE_TX_RX;
  huart4.Init.HwFlowCtl = UART_HWCONTROL_NONE;
  huart4.Init.OverSampling = UART_OVERSAMPLING_16;
  if (HAL_UART_Init(&huart4) != HAL_OK)
  {
    Error_Handler();
  }

}

static void MX_DMA_Init(void)
{

  /* DMA controller clock enable */
  __HAL_RCC_DMA2_CLK_ENABLE();

  /* DMA interrupt init */
  /* DMA2_Stream0_IRQn interrupt configuration */
  HAL_NVIC_SetPriority(DMA2_Stream0_IRQn, 5, 0);
  HAL_NVIC_EnableIRQ(DMA2_Stream0_IRQn);
  /* DMA2_Stream1_IRQn interrupt configuration */
  HAL_NVIC_SetPriority(DMA2_Stream1_IRQn, 5, 0);
  HAL_NVIC_EnableIRQ(DMA2_Stream1_IRQn);
  /* DMA2_Stream2_IRQn interrupt configuration */
  HAL_NVIC_SetPriority(DMA2_Stream2_IRQn, 5, 0);
  HAL_NVIC_EnableIRQ(DMA2_Stream2_IRQn);
  /* DMA2_Stream3_IRQn interrupt configuration */
  HAL_NVIC_SetPriority(DMA2_Stream3_IRQn, 5, 0);
  HAL_NVIC_EnableIRQ(DMA2_Stream3_IRQn);
  /* DMA2_Stream6_IRQn interrupt configuration */
  HAL_NVIC_SetPriority(DMA2_Stream6_IRQn, 5, 0);
  HAL_NVIC_EnableIRQ(DMA2_Stream6_IRQn);

}

static void MX_GPIO_Init(void)
{
  GPIO_InitTypeDef GPIO_InitStruct = {0};

  /* GPIO Ports Clock Enable */
  __HAL_RCC_GPIOC_CLK_ENABLE();
  __HAL_RCC_GPIOH_CLK_ENABLE();
  __HAL_RCC_GPIOA_CLK_ENABLE();
  __HAL_RCC_GPIOB_CLK_ENABLE();
  __HAL_RCC_GPIOD_CLK_ENABLE();

  /*Configure GPIO pin Output Level */
  HAL_GPIO_WritePin(GPIOC, EN_12V_0_Pin|EN_12V_4_Pin|EN_12V_5_Pin, GPIO_PIN_RESET);

  /*Configure GPIO pin Output Level */
  HAL_GPIO_WritePin(GPIOB, EN_12V_2_Pin|EN_12V_3_Pin|EN_12V_1_Pin|MEDIA_nRST_Pin, GPIO_PIN_RESET);

  /*Configure GPIO pin Output Level */
  HAL_GPIO_WritePin(GPIOA, EN_12V_6_Pin|LED_FAULT_Pin, GPIO_PIN_RESET);

  /*Configure GPIO pin : HS_VBUS_SNS_Pin */
  GPIO_InitStruct.Pin = HS_VBUS_SNS_Pin;
  GPIO_InitStruct.Mode = GPIO_MODE_INPUT;
  GPIO_InitStruct.Pull = GPIO_NOPULL;
  HAL_GPIO_Init(HS_VBUS_SNS_GPIO_Port, &GPIO_InitStruct);

  /*Configure GPIO pins : EN_12V_0_Pin EN_12V_4_Pin EN_12V_5_Pin */
  GPIO_InitStruct.Pin = EN_12V_0_Pin|EN_12V_4_Pin|EN_12V_5_Pin;
  GPIO_InitStruct.Mode = GPIO_MODE_OUTPUT_PP;
  GPIO_InitStruct.Pull = GPIO_NOPULL;
  GPIO_InitStruct.Speed = GPIO_SPEED_FREQ_LOW;
  HAL_GPIO_Init(GPIOC, &GPIO_InitStruct);

  /*Configure GPIO pins : EN_12V_2_Pin EN_12V_3_Pin EN_12V_1_Pin MEDIA_nRST_Pin */
  GPIO_InitStruct.Pin = EN_12V_2_Pin|EN_12V_3_Pin|EN_12V_1_Pin|MEDIA_nRST_Pin;
  GPIO_InitStruct.Mode = GPIO_MODE_OUTPUT_PP;
  GPIO_InitStruct.Pull = GPIO_NOPULL;
  GPIO_InitStruct.Speed = GPIO_SPEED_FREQ_LOW;
  HAL_GPIO_Init(GPIOB, &GPIO_InitStruct);

  /*Configure GPIO pins : EN_12V_6_Pin LED_FAULT_Pin */
  GPIO_InitStruct.Pin = EN_12V_6_Pin|LED_FAULT_Pin;
  GPIO_InitStruct.Mode = GPIO_MODE_OUTPUT_PP;
  GPIO_InitStruct.Pull = GPIO_NOPULL;
  GPIO_InitStruct.Speed = GPIO_SPEED_FREQ_LOW;
  HAL_GPIO_Init(GPIOA, &GPIO_InitStruct);

  /*Configure GPIO pin : PA9 */
  GPIO_InitStruct.Pin = GPIO_PIN_9;
  GPIO_InitStruct.Mode = GPIO_MODE_INPUT;
  GPIO_InitStruct.Pull = GPIO_NOPULL;
  HAL_GPIO_Init(GPIOA, &GPIO_InitStruct);

  /*Configure GPIO pins : PA11 PA12 */
  GPIO_InitStruct.Pin = GPIO_PIN_11|GPIO_PIN_12;
  GPIO_InitStruct.Mode = GPIO_MODE_AF_PP;
  GPIO_InitStruct.Pull = GPIO_NOPULL;
  GPIO_InitStruct.Speed = GPIO_SPEED_FREQ_VERY_HIGH;
  GPIO_InitStruct.Alternate = GPIO_AF10_OTG_FS;
  HAL_GPIO_Init(GPIOA, &GPIO_InitStruct);

  /*Configure GPIO pin : SD_SW_CD_Pin */
  GPIO_InitStruct.Pin = SD_SW_CD_Pin;
  GPIO_InitStruct.Mode = GPIO_MODE_INPUT;
  GPIO_InitStruct.Pull = GPIO_PULLUP;
  HAL_GPIO_Init(SD_SW_CD_GPIO_Port, &GPIO_InitStruct);

}

void plm_task_heartbeat(void const * argument)
{
  /* USER CODE BEGIN 5 */
  /* Infinite loop */
  for(;;)
  {
	 plm_heartbeat();
  }
  /* USER CODE END 5 */
}

void plm_task_store_data(void const * argument)
{
  /* USER CODE BEGIN plm_task_store_data */
  /* Infinite loop */
  for(;;)
  {
	  plm_store_data();
  }
  /* USER CODE END plm_task_store_data */
}

void plm_task_service_can(void const * argument)
{
  /* USER CODE BEGIN plm_task_service_can */
  /* Infinite loop */
  for(;;)
  {
	plm_service_can();
  }
  /* USER CODE END plm_task_service_can */
}

void plm_task_simulate_data(void const * argument)
{
  /* USER CODE BEGIN plm_task_simulate_data */
  /* Infinite loop */
  for(;;)
  {
	  plm_simulate_data();
  }
  /* USER CODE END plm_task_simulate_data */
}

void plm_task_collect_data(void const * argument)
{
  /* USER CODE BEGIN plm_task_collect_data */
  /* Infinite loop */
  for(;;)
  {
	  plm_collect_data();
  }
  /* USER CODE END plm_task_collect_data */
}

void plm_task_monitor_current(void const * argument)
{
  /* USER CODE BEGIN plm_task_monitor_current */
  /* Infinite loop */
  for(;;)
  {
	  plm_monitor_current();
  }
  /* USER CODE END plm_task_monitor_current */
}

void HAL_TIM_PeriodElapsedCallback(TIM_HandleTypeDef *htim)
{
  if (htim->Instance == TIM1) {
    HAL_IncTick();
  }
}

void Error_Handler(void)
{
  __disable_irq();
  while (1)
  {
  }
}
